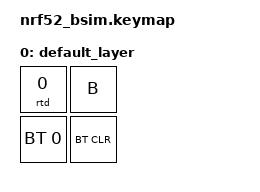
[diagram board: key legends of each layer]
#include <behaviors.dtsi>
#include <behaviors/runtime_tapdance.dtsi>
#include <dt-bindings/zmk/bt.h>
#include <dt-bindings/zmk/keys.h>
#include <dt-bindings/zmk/matrix_transform.h>
#include <physical_layouts.dtsi>

&kscan {
    /delete-property/ exit-after;
    events = <>;
};
/ {
    /* CONFIG_ZMK_STUDIO (enabled on the central) requires a physical
     * layout with key positions; kscan falls back to the board's chosen
     * zmk,kscan. */
    physical_layout: physical_layout {
        compatible = "zmk,physical-layout";
        display-name = "Test layout";
        transform = <&test_transform>;
        keys /* w h x y rot rx ry */
            = <&key_physical_attrs 100 100   0 0 0 0 0>
            , <&key_physical_attrs 100 100 100 0 0 0 0>
            , <&key_physical_attrs 100 100   0 100 0 0 0>
            , <&key_physical_attrs 100 100 100 100 0 0 0>
            ;
    };

    test_transform: test_transform {
        compatible = "zmk,matrix-transform";
        columns = <2>;
        rows = <2>;
        map = <
            RC(0,0) RC(0,1)
            RC(1,0) RC(1,1)
        >;
    };

    keymap {
        compatible = "zmk,keymap";

        default_layer {
            bindings = <
            &rtd 0 &kp B
            &bt BT_SEL 0 &bt BT_CLR>;
        };
    };
};
